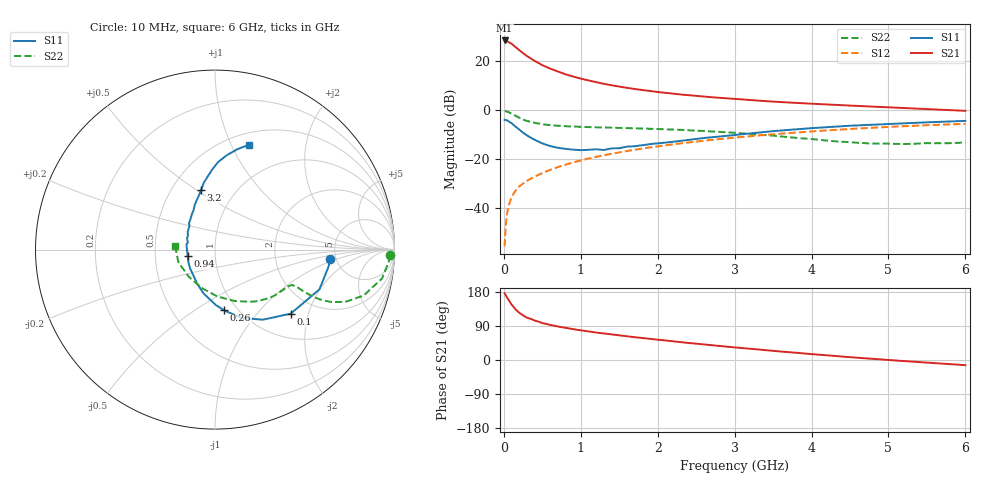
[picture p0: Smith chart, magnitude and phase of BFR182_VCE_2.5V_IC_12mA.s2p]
! Infineon Technologies  Discrete & RF Semiconductors
! BFR182
! VCE =  2.5 V,  IC =  12 mA
! Common Emitter S-Parameters:  Nov 2015
# GHz  S  MA  R  50
!  f  S11  S21  S12  S22
! GHz  MAG  ANG  MAG  ANG  MAG  ANG  MAG  ANG
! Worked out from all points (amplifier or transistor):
!   210 points, 10 MHz to 6 GHz, reference 50 ohm
!   highest |S21| = 28.6 dB at 10 MHz (marker M1)
!   |S21| within 3 dB of that: start of sweep to 164.2 MHz
!   unconditionally stable (mu >= 1): 695 MHz to 2.593 GHz
!   at 185 MHz: K = 0.57, MSG = 28.3 dB, |S12| = -31.5 dB
!   at 1.52 GHz: K = 1.05, MAG = 11.9 dB, |S12| = -17.0 dB
!   at 6 GHz: K = 0.89, MSG = 2.7 dB, |S12| = -5.5 dB
!   S11 on the Smith chart (normalised r, x): 10 MHz: 4.49, -0.80; 100 MHz: 1.50, -1.54; 260 MHz: 0.87, -0.67; 940 MHz: 0.73, -0.05; 3.2 GHz: 0.70, +0.52; 6 GHz: 0.62, +1.17
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0.01  0.6451 -4.6  26.82 176.1  0.0017 86.3  0.9779 -1.9
0.02  0.6389 -9.0  26.64 172.2  0.0034 82.6  0.9698 -4.1
0.05  0.6221 -21.0  25.7 161.9  0.0093 79.6  0.9442 -9.8
0.1  0.5522 -40.3  23.04 146.4  0.0168 74.2  0.8673 -17.2
0.15  0.4728 -55.7  19.81 133.7  0.0228 70.0  0.7792 -22.0
0.2  0.4093 -68.4  17.08 124.7  0.0281 67.9  0.7096 -24.3
0.24  0.3612 -77.1  15.22 119.0  0.0314 67.0  0.6647 -25.2
0.26  0.3419 -81.3  14.4 116.4  0.0331 66.9  0.645 -25.4
0.3  0.31 -88.9  12.92 111.9  0.0366 67.3  0.611 -25.6
0.4  0.2522 -104.7  10.25 104.2  0.0444 68.1  0.5577 -25.4
0.5  0.2133 -118.0  8.398 97.6  0.0527 68.7  0.5235 -24.9
0.6  0.1889 -129.2  7.16 92.6  0.0611 69.6  0.501 -24.6
0.7  0.1737 -142.8  6.221 88.4  0.0696 69.9  0.4865 -24.6
0.94  0.1567 -167.1  4.727 80.1  0.0905 69.8  0.4669 -25.3
1.02  0.1552 -174.9  4.386 77.7  0.0973 69.7  0.4623 -25.9
1.4  0.1682 157.7  3.26 67.6  0.1308 68.3  0.4444 -29.5
2.02  0.2142 130.2  2.362 53.2  0.1868 63.8  0.4183 -37.8
3.1  0.3273 104.9  1.668 31.5  0.2886 53.5  0.3402 -58.4
3.2  0.3398 103.3  1.627 29.8  0.2979 52.4  0.3306 -60.9
4.1  0.4456 92.1  1.348 14.0  0.3829 42.3  0.2513 -91.2
5.1  0.5384 81.7  1.141 -1.4  0.4701 30.0  0.2076 -139.7
6  0.6128 72.2  0.983 -13.6  0.5315 17.4  0.2226 174.9
